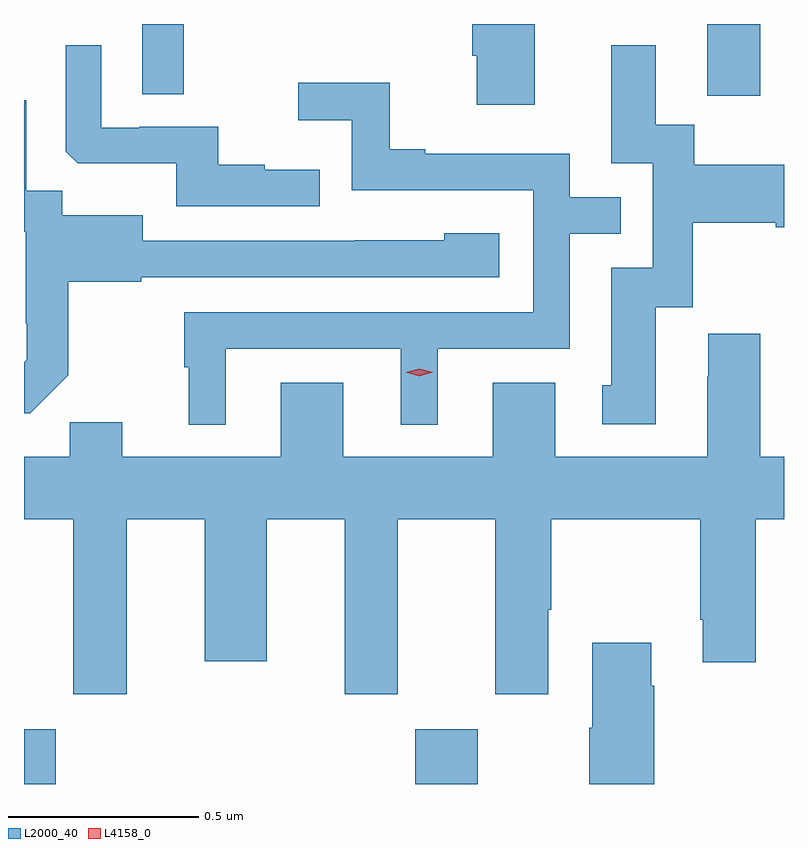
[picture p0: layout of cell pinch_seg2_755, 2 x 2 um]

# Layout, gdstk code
import gdstk
lib = gdstk.Library(unit=1e-6, precision=1e-09)
def R(c, l, rs):  # rectangles x0, y0, x1, y1
    for r in rs: c.add(gdstk.rectangle(r[:2], r[2:], *l))
def P(c, l, *ps):  # polygons
    for p in ps: c.add(gdstk.Polygon(p, *l))
L2000_40 = (2000, 40)
L4158_0 = (4158, 0)

pinch_seg2_755 = lib.new_cell('pinch_seg2_755')
R(pinch_seg2_755, L2000_40, [(823.873,644.275,823.957,644.419), (824.903,644.275,825.067,644.419), (825.671,646.086,825.811,646.275), (824.184,646.09,824.293,646.275)])
P(pinch_seg2_755, L2000_40, [(825.217,646.275),(825.053,646.275),(825.053,646.191),(825.065,646.191),(825.065,646.062),(825.217,646.062)],
  [(825.535,645.53),(825.633,645.53),(825.633,645.752),(825.851,645.752),(825.851,645.74),(825.873,645.74),(825.873,645.904),(825.637,645.904),(825.637,646.01),(825.535,646.01),(825.535,646.219),(825.419,646.219),(825.419,645.909),(825.528,645.909),(825.528,645.633),(825.419,645.633),(825.419,645.324),(825.395,645.324),(825.395,645.222),(825.535,645.222)],
  [(824.651,645.892),(824.507,645.892),(824.507,645.904),(824.384,645.904),(824.384,646.005),(824.176,646.005),(824.176,646.002),(824.076,646.002),(824.076,646.219),(823.983,646.219),(823.983,645.939),(824.015,645.908),(824.274,645.908),(824.274,645.795),(824.651,645.795)],
  [(824.404,645.42),(824.864,645.42),(824.864,645.221),(824.962,645.221),(824.962,645.42),(825.309,645.42),(825.309,645.723),(825.443,645.723),(825.443,645.819),(825.309,645.819),(825.309,645.933),(824.929,645.933),(824.929,645.946),(824.835,645.946),(824.835,646.121),(824.595,646.121),(824.595,646.022),(824.736,646.022),(824.736,645.837),(825.213,645.837),(825.213,645.516),(824.295,645.516),(824.295,645.372),(824.306,645.372),(824.306,645.221),(824.404,645.221)],
  [(823.989,645.351),(823.989,645.597),(824.181,645.597),(824.181,645.609),(825.124,645.609),(825.124,645.724),(824.979,645.724),(824.979,645.706),(824.743,645.706),(824.743,645.705),(824.185,645.705),(824.185,645.772),(823.974,645.772),(823.974,645.836),(823.879,645.836),(823.879,646.075),(823.873,646.075),(823.873,645.728),(823.878,645.728),(823.878,645.487),(823.88,645.487),(823.88,645.392),(823.873,645.385),(823.873,645.251),(823.889,645.251)],
  [(825.113,644.511),(825.253,644.511),(825.253,644.734),(825.261,644.734),(825.261,644.972),(825.652,644.972),(825.652,644.707),(825.659,644.707),(825.659,644.595),(825.799,644.595),(825.799,644.972),(825.873,644.972),(825.873,645.136),(825.811,645.136),(825.811,645.46),(825.674,645.46),(825.674,645.347),(825.671,645.347),(825.671,645.136),(825.271,645.136),(825.271,645.331),(825.107,645.331),(825.107,645.136),(824.713,645.136),(824.713,645.331),(824.549,645.331),(824.549,645.136),(824.131,645.136),(824.131,645.227),(823.993,645.227),(823.993,645.136),(823.873,645.136),(823.873,644.972),(824.003,644.972),(824.003,644.511),(824.143,644.511),(824.143,644.972),(824.348,644.972),(824.348,644.598),(824.512,644.598),(824.512,644.972),(824.717,644.972),(824.717,644.511),(824.857,644.511),(824.857,644.972),(825.113,644.972)],
  [(825.531,644.534),(825.523,644.534),(825.523,644.647),(825.368,644.647),(825.368,644.423),(825.361,644.423),(825.361,644.275),(825.531,644.275)])
P(pinch_seg2_755, L4158_0, [(824.913,645.348),(824.877,645.358),(824.877,645.358),(824.877,645.358),(824.913,645.368),(824.949,645.358),(824.949,645.358),(824.949,645.358)])

lib.write_gds('pinch_seg2_755.gds')
